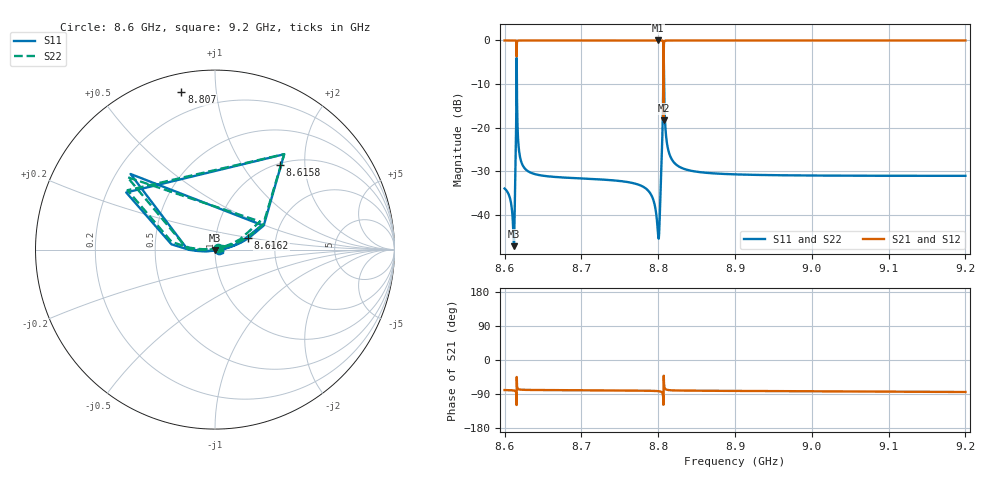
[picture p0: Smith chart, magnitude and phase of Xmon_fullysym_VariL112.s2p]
! Sonnet Data File
! From: emgraph Version : 16.52
! From Project: 171117_Xmon_fullysym
! Data is De-embedded
! Data File Written: 11/26/2017 21:44:47
!< HDATE 11/26/2017 17:24:49
!< MDATE 11/26/2017 17:24:49
!< PARAMS
!< Lj = 11.0
!< Gap = 1.0
!< Pwid = 2000.0
!< Airgap = 6.0
!< Width = 10.0
!< Lj1 = 11.2
!< END PARAMS
# GHZ S MA R 50.90000
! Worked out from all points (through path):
!   3001 points, 8.6 GHz to 9.2 GHz, reference 50.9 ohm
!   highest |S21| = 0.00 dB at 8.7992 GHz (marker M1); lowest = -18.3 dB at 8.807 GHz (marker M2)
!   lowest |S11| = -47.2 dB at 8.6122 GHz (marker M3), VSWR 1.01, Z = 50.9 - j0.442 ohm
!   |S11| at or under -10 dB: start of sweep to 8.615437 GHz; 8.616 GHz to 8.8065 GHz (190.6 MHz wide, 2.19 % of centre); 8.8076 GHz to end of sweep
!   |S22| runs from -46.7 to -0.9 dB; largest |S21 - S12| = 2.7e-10
!   S11 on the Smith chart (normalised r, x): 8.6 GHz: 1.04, -0.00; 8.6158 GHz: 1.03, +1.49; 8.6162 GHz: 1.44, +0.20; 8.807 GHz: 0.09, +0.81; 9.2 GHz: 1.06, -0.01
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8.6  0.01995 -3.5  0.9998 -79.3  0.9998 -79.3  0.01996 24.9
!< P1 F=8.6 Eeff=(6.44845572 -2.9799e-5) Z0=(50.9087207 1.17006e-4) R=0.0 C=0.0
!< P2 F=8.6 Eeff=(6.44845572 -2.9799e-5) Z0=(50.9087207 1.17006e-4) R=0.0 C=0.0
8.6102  0.009789 -18.0  0.9999 -80.1  0.9999 -80.1  0.009841 38.5
8.6122  0.004347 -90.7  0.9999 -80.6  0.9999 -80.6  0.00462 109.0
8.6158  0.5929 52.7  0.7166 -44.7  0.7166 -44.7  0.5939 56.0
8.6162  0.1963 19.9  0.9744 -69.3  0.9744 -69.3  0.1966 25.1
8.6224  0.0388 3.7  0.9992 -78.5  0.9992 -78.5  0.03881 19.6
8.631  0.0313 1.5  0.9995 -79.0  0.9995 -79.0  0.0313 20.6
8.7  0.02604 -1.3  0.9997 -79.9  0.9997 -79.9  0.02604 21.5
8.7808  0.02082 -5.5  0.9998 -81.0  0.9998 -81.0  0.02083 23.6
8.7924  0.01582 -10.8  0.9999 -81.4  0.9999 -81.4  0.01583 28.2
8.7992  0.007032 -40.9  0.9999 -82.0  0.9999 -82.0  0.007116 57.4
8.8002  0.005473 -67.5  0.9999 -82.2  0.9999 -82.2  0.005614 83.5
8.8024  0.01192 -146.7  0.9998 -82.9  0.9998 -82.9  0.01206 159.5
8.805  0.05903 -171.0  0.9974 -85.7  0.9974 -85.7  0.05918 178.0
8.807  0.8983 102.0  0.1217 -114.1  0.1217 -114.1  0.8994 101.4
8.809  0.1128 12.1  0.9928 -75.9  0.9928 -75.9  0.1129 16.9
8.8142  0.05089 4.8  0.9986 -79.5  0.9986 -79.5  0.0509 16.3
8.824  0.03718 1.6  0.9993 -80.4  0.9993 -80.4  0.03719 17.6
8.9002  0.02901 -2.2  0.9996 -81.6  0.9996 -81.6  0.02901 19.0
9.0002  0.02814 -3.7  0.9996 -82.6  0.9996 -82.6  0.02814 18.5
9.1  0.02794 -4.9  0.9996 -83.5  0.9996 -83.5  0.02794 17.9
9.2  0.02791 -6.1  0.9996 -84.4  0.9996 -84.4  0.02791 17.2
